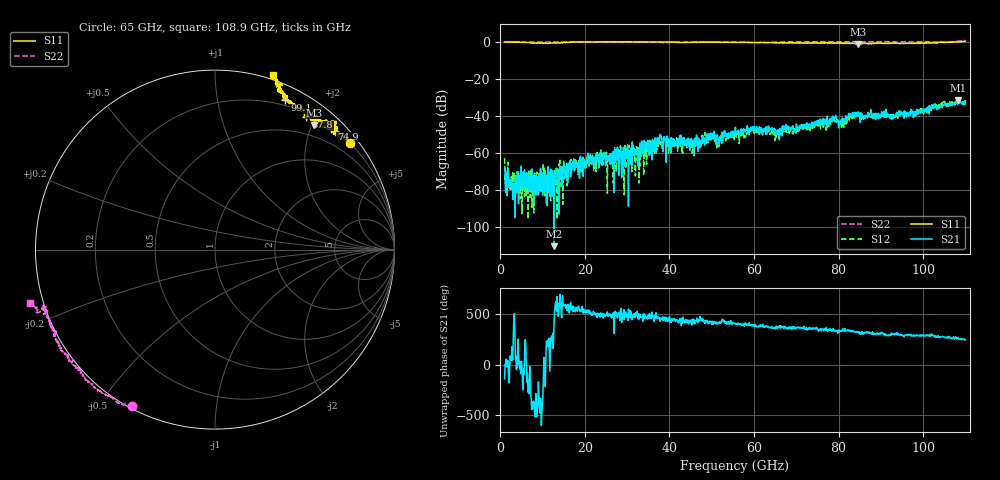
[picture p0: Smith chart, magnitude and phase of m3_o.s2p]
!Keysight Technologies,N5222B,MY58421742,A.17.00.05
!Date: Friday, September 20, 2024 13:38:22
!Correction: S11(C  2-Port  )
!S21(C  2-Port  )
!S12(C  2-Port  )
!S22(C  2-Port  )
!S2P File: Measurements: S11, S21, S12, S22:
# Hz S  dB  R 50
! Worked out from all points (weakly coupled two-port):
!   1091 points, 1 GHz to 110 GHz, reference 50 ohm
!   highest |S21| = -31.21 dB at 108.3 GHz (marker M1); lowest = -110.2 dB at 12.7 GHz (marker M2)
!   lowest |S11| = -1.0 dB at 84.7 GHz (marker M3), VSWR 16.64, Z = 15.7 + j102 ohm
!   |S11| at or under -10 dB: nowhere
!   |S22| runs from -0.3 to 0.8 dB; largest |S21 - S12| = 0.0086
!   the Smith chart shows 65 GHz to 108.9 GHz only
!   S11 on the Smith chart (normalised r, x): 65 GHz: 0.21, +2.87; 74.9 GHz: 0.22, +2.33; 87.8 GHz: 0.25, +1.87; 99.1 GHz: 0.14, +1.57; 108.9 GHz: -0.04, +1.38
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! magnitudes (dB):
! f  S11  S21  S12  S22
! 1 GHz  0.0  -69.0  -62.7  0.0
! 2.6 GHz  0.0  -74.3  -72.6  0.0
! 12.7 GHz  -0.5  -110.2  -76.7  -0.1
! 19.2 GHz  0.0  -63.0  -63.3  -0.1
! 23.4 GHz  0.1  -63.0  -61.5  -0.1
! 27.1 GHz  0.1  -58.4  -56.6  -0.1
! 28.2 GHz  0.0  -59.9  -62.6  -0.1
! 29.2 GHz  0.1  -59.8  -71.7  -0.2
! 29.9 GHz  0.1  -60.1  -58.3  -0.2
! 32.3 GHz  0.1  -60.2  -60.9  -0.2
! 37.4 GHz  0.0  -53.8  -54.9  -0.1
! 55.5 GHz  -0.2  -49.1  -48.9  -0.1
! 65 GHz  -0.4  -47.2  -53.2  -0.1
! 73.7 GHz  -0.6  -43.3  -46.4  0.2
! 74.9 GHz  -0.6  -44.3  -44.7  0.2
! 84.7 GHz  -1.0  -37.7  -39.9  0.2
! 87.8 GHz  -1.0  -38.3  -40.8  0.2
! 91.9 GHz  -0.7  -40.0  -39.5  0.2
! 99.1 GHz  -0.7  -36.5  -38.0  0.0
! 108.3 GHz  0.1  -31.2  -31.6  0.4
! 108.9 GHz  0.2  -32.2  -31.8  0.6
! 110 GHz  0.4  -33.4  -31.4  0.8
